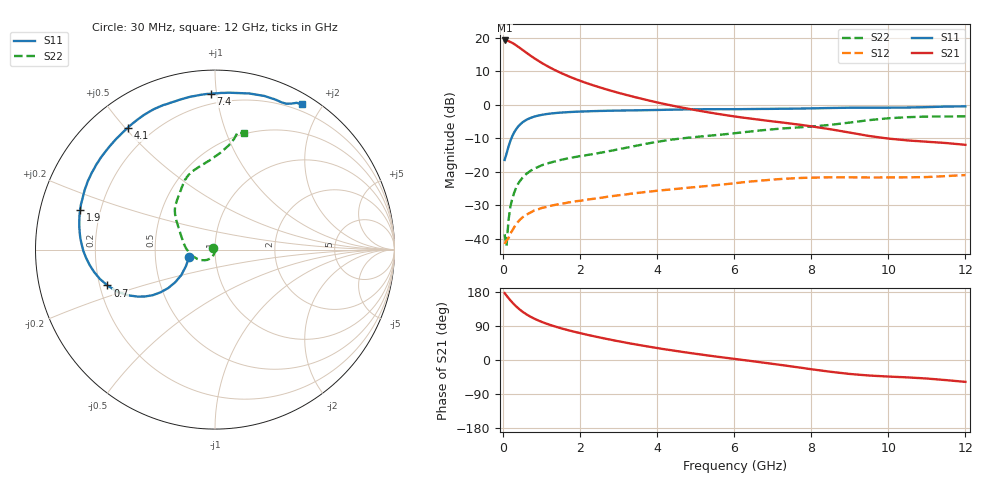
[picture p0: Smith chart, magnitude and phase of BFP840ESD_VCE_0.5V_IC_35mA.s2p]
! Infineon Technologies  Discrete & RF Semiconductors
! BFP840ESD
! VCE =  0.5 V,  IC =  35 mA
! Common Emitter S-Parameters:  May 2012
# GHz  S  MA  R  50
!  f  S11  S21  S12  S22
! GHz  MAG  ANG  MAG  ANG  MAG  ANG  MAG  ANG
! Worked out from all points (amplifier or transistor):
!   93 points, 30 MHz to 12 GHz, reference 50 ohm
!   highest |S21| = 19.2 dB at 30 MHz (marker M1)
!   |S21| within 3 dB of that: start of sweep to 517 MHz
!   unconditionally stable (mu >= 1): start of sweep to end of sweep
!   at 1.1 GHz: K = 2.16, MAG = 15.1 dB, |S12| = -30.6 dB
!   at 4.2 GHz: K = 2.76, MAG = 5.5 dB, |S12| = -25.5 dB
!   at 12 GHz: K = 1.91, MAG = -1.0 dB, |S12| = -21.0 dB
!   S11 on the Smith chart (normalised r, x): 30 MHz: 0.75, -0.06; 700 MHz: 0.23, -0.15; 1.9 GHz: 0.12, +0.14; 4.1 GHz: 0.11, +0.51; 7.4 GHz: 0.14, +0.96; 12 GHz: 0.12, +1.75
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0.03  0.1492 -164.7  9.078 176.6  0.0083 10.8  0.0116 140.2
0.08  0.1852 -150.6  9.054 169.9  0.0094 22.0  0.0077 -104.8
0.13  0.2351 -142.9  8.874 163.5  0.0101 29.7  0.0185 -100.0
0.18  0.2875 -140.6  8.614 157.5  0.0119 34.7  0.03 -104.4
0.28  0.3865 -141.9  8.014 146.4  0.0148 38.0  0.0487 -114.3
0.33  0.4302 -143.8  7.671 141.4  0.0163 39.5  0.0575 -119.3
0.43  0.504 -148.7  6.986 132.6  0.0192 40.2  0.0726 -127.7
0.5  0.5466 -152.2  6.534 127.1  0.0208 39.7  0.0815 -133.5
0.6  0.5954 -157.0  5.929 120.3  0.0228 37.8  0.0929 -140.6
0.7  0.632 -161.6  5.398 114.4  0.0244 36.7  0.1024 -146.6
0.9  0.6855 -169.6  4.531 104.5  0.0273 34.9  0.1173 -156.7
1.2  0.733 -179.3  3.597 93.0  0.0306 32.0  0.1354 -167.8
1.5  0.7605 172.6  2.959 83.6  0.0331 30.7  0.1499 -176.7
1.9  0.7837 163.5  2.374 73.1  0.0362 29.6  0.1665 174.5
2.1  0.7904 159.3  2.152 68.3  0.0376 29.2  0.1736 170.7
3  0.8145 142.8  1.493 49.3  0.0444 27.4  0.2157 154.1
4.1  0.8343 125.7  1.045 29.8  0.0525 23.1  0.2846 140.4
6.1  0.8555 105.2  0.654 1.7  0.068 14.1  0.3792 120.6
7.4  0.8682 91.6  0.526 -15.8  0.0786 3.2  0.4462 108.1
8.5  0.8906 77.6  0.428 -31.1  0.0822 -6.8  0.499 93.3
10.5  0.9044 64.0  0.292 -45.9  0.0821 -18.7  0.6496 79.5
12  0.942 59.2  0.251 -57.7  0.0887 -24.9  0.6679 75.8
